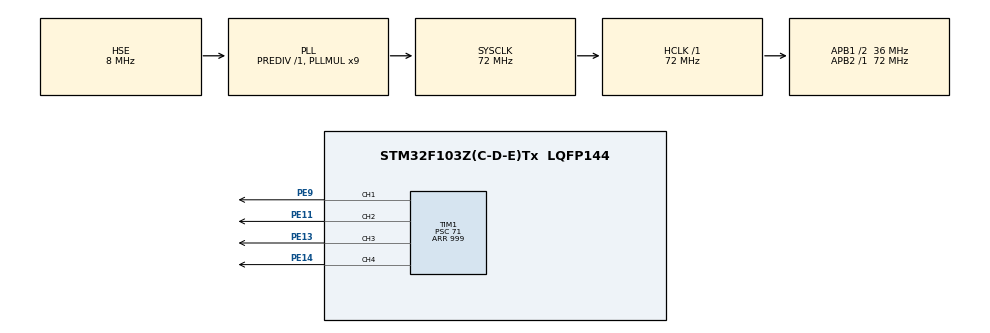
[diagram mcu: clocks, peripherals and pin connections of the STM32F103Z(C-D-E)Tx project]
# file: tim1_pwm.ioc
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Mcu.Family=STM32F1
Mcu.Name=STM32F103Z(C-D-E)Tx
Mcu.Package=LQFP144
NVIC.PriorityGroup=NVIC_PRIORITYGROUP_4
NVIC.TIM2_IRQn=true\:0\:0\:false\:false\:true\:true\:true
OSC_IN.Mode=HSE-External-Oscillator
OSC_IN.Signal=RCC_OSC_IN
OSC_OUT.Mode=HSE-External-Oscillator
OSC_OUT.Signal=RCC_OSC_OUT
PE11.Signal=S_TIM1_CH2
PE13.Signal=S_TIM1_CH3
PE14.Signal=S_TIM1_CH4
PE9.Signal=S_TIM1_CH1
ProjectManager.HeapSize=0x200
ProjectManager.StackSize=0x400
ProjectManager.TargetToolchain=MDK-ARM V5.27
RCC.AHBFreq_Value=72000000
RCC.APB1CLKDivider=RCC_HCLK_DIV2
RCC.APB1Freq_Value=36000000
RCC.APB1TimFreq_Value=72000000
RCC.APB2Freq_Value=72000000
RCC.APB2TimFreq_Value=72000000
RCC.HCLKFreq_Value=72000000
RCC.PLLMUL=RCC_PLL_MUL9
RCC.PLLSourceVirtual=RCC_PLLSOURCE_HSE
RCC.SYSCLKFreq_VALUE=72000000
RCC.SYSCLKSource=RCC_SYSCLKSOURCE_PLLCLK
RCC.USBFreq_Value=72000000
SH.S_TIM1_CH1.0=TIM1_CH1,PWM Generation1 CH1
SH.S_TIM1_CH2.0=TIM1_CH2,PWM Generation2 CH2
SH.S_TIM1_CH3.0=TIM1_CH3,PWM Generation3 CH3
SH.S_TIM1_CH4.0=TIM1_CH4,PWM Generation4 CH4
TIM1.AutoReloadPreload=TIM_AUTORELOAD_PRELOAD_ENABLE
TIM1.Channel-PWM\ Generation1\ CH1=TIM_CHANNEL_1
TIM1.Channel-PWM\ Generation2\ CH2=TIM_CHANNEL_2
TIM1.Channel-PWM\ Generation3\ CH3=TIM_CHANNEL_3
TIM1.Channel-PWM\ Generation4\ CH4=TIM_CHANNEL_4
TIM1.Period=999
TIM1.Prescaler=71
TIM1.Pulse-PWM\ Generation1\ CH1=800
TIM1.Pulse-PWM\ Generation2\ CH2=600
TIM1.Pulse-PWM\ Generation3\ CH3=400
TIM1.Pulse-PWM\ Generation4\ CH4=200
TIM2.AutoReloadPreload=TIM_AUTORELOAD_PRELOAD_ENABLE
TIM2.Period=10000
TIM2.Prescaler=71
VP_SYS_VS_ND.Mode=No_Debug
VP_TIM1_VS_ClockSourceINT.Mode=Internal
VP_TIM2_VS_ClockSourceINT.Mode=Internal
board=custom

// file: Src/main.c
/* USER CODE BEGIN Header */
/**
  ******************************************************************************
  * @file           : main.c
  * @brief          : Main program body
  ******************************************************************************
  * @attention
  *
  * <h2><center>&copy; Copyright (c) 2020 STMicroelectronics.
  * All rights reserved.</center></h2>
  *
  * This software component is licensed by ST under BSD 3-Clause license,
  * the "License"; You may not use this file except in compliance with the
  * License. You may obtain a copy of the License at:
  *                        opensource.org/licenses/BSD-3-Clause
  *
  ******************************************************************************
  */
/* USER CODE END Header */

#include "main.h"
#include "tim.h"
#include "gpio.h"

/* USER CODE BEGIN PV */
const uint16_t sin_val[]={998,998,998,998,999,998,998,998,998,997,996,995,995,994,992,991,
990,988,986,985,983,981,979,976,974,972,969,966,963,961,957,954,
951,948,944,940,937,933,929,925,921,917,912,908,903,899,894,889,
884,879,874,869,863,858,852,847,841,835,829,824,818,811,805,799,
793,786,780,773,767,760,754,747,740,733,726,719,712,705,698,690,
683,676,669,661,654,646,639,631,624,616,608,601,593,585,578,570,
562,554,546,539,531,523,515,507,500,492,484,476,468,460,453,445,
437,429,421,414,406,398,391,383,375,368,360,353,345,338,330,323,
316,309,301,294,287,280,273,266,259,252,245,239,232,226,219,213,
206,200,194,188,181,175,170,164,158,152,147,141,136,130,125,120,
115,110,105,100,96,91,87,82,78,74,70,66,62,59,55,51,
48,45,42,38,36,33,30,27,25,23,20,18,16,14,13,11,
9,8,7,5,4,4,3,2,1,1,1,1,1,1,1,1,
1,2,3,4,4,5,7,8,9,11,13,14,16,18,20,23,
25,27,30,33,36,38,42,45,48,51,55,59,62,66,70,74,
78,82,87,91,96,100,105,110,115,120,125,130,136,141,147,152,
158,164,170,175,181,188,194,200,206,213,219,226,232,239,245,252,
259,266,273,280,287,294,301,309,316,323,330,338,345,353,360,368,
375,383,391,398,406,414,421,429,437,445,453,460,468,476,484,492};
uint16_t size = 400;
uint16_t pwm_val = 0;
/* USER CODE END PV */

void SystemClock_Config(void);

int main(void)
{
  /* USER CODE BEGIN 1 */
//static uint16_t  i =0;
  /* USER CODE END 1 */

  /* MCU Configuration--------------------------------------------------------*/

  /* Reset of all peripherals, Initializes the Flash interface and the Systick. */
  HAL_Init();

  /* Configure the system clock */
  SystemClock_Config();

  /* Initialize all configured peripherals */
  MX_GPIO_Init();
  MX_TIM1_Init();
  MX_TIM2_Init();
  /* USER CODE BEGIN 2 */
  HAL_TIM_PWM_Start(&htim1, TIM_CHANNEL_1);
	HAL_TIM_PWM_Start(&htim1, TIM_CHANNEL_2);
	HAL_TIM_PWM_Start(&htim1, TIM_CHANNEL_3);
	HAL_TIM_PWM_Start(&htim1, TIM_CHANNEL_4);
	 HAL_TIM_Base_Start_IT(&htim2);
  /* USER CODE END 2 */

  /* Infinite loop */
  /* USER CODE BEGIN WHILE */
  while (1)
  {

    pwm_val++;
		HAL_Delay(5);
		__HAL_TIM_SET_COMPARE(&htim1, TIM_CHANNEL_1,pwm_val);
		pwm_val = (pwm_val>999)? 0:pwm_val ;

    /* USER CODE END WHILE */

  }
}

void SystemClock_Config(void)
{
  RCC_OscInitTypeDef RCC_OscInitStruct = {0};
  RCC_ClkInitTypeDef RCC_ClkInitStruct = {0};

  /** Initializes the CPU, AHB and APB busses clocks
  */
  RCC_OscInitStruct.OscillatorType = RCC_OSCILLATORTYPE_HSE;
  RCC_OscInitStruct.HSEState = RCC_HSE_ON;
  RCC_OscInitStruct.HSEPredivValue = RCC_HSE_PREDIV_DIV1;
  RCC_OscInitStruct.HSIState = RCC_HSI_ON;
  RCC_OscInitStruct.PLL.PLLState = RCC_PLL_ON;
  RCC_OscInitStruct.PLL.PLLSource = RCC_PLLSOURCE_HSE;
  RCC_OscInitStruct.PLL.PLLMUL = RCC_PLL_MUL9;
  if (HAL_RCC_OscConfig(&RCC_OscInitStruct) != HAL_OK)
  {
    Error_Handler();
  }
  /** Initializes the CPU, AHB and APB busses clocks
  */
  RCC_ClkInitStruct.ClockType = RCC_CLOCKTYPE_HCLK|RCC_CLOCKTYPE_SYSCLK
                              |RCC_CLOCKTYPE_PCLK1|RCC_CLOCKTYPE_PCLK2;
  RCC_ClkInitStruct.SYSCLKSource = RCC_SYSCLKSOURCE_PLLCLK;
  RCC_ClkInitStruct.AHBCLKDivider = RCC_SYSCLK_DIV1;
  RCC_ClkInitStruct.APB1CLKDivider = RCC_HCLK_DIV2;
  RCC_ClkInitStruct.APB2CLKDivider = RCC_HCLK_DIV1;

  if (HAL_RCC_ClockConfig(&RCC_ClkInitStruct, FLASH_LATENCY_2) != HAL_OK)
  {
    Error_Handler();
  }
}

/* USER CODE BEGIN 4 */
 void HAL_TIM_PeriodElapsedCallback(TIM_HandleTypeDef *htim)
	{
		if(htim->Instance == htim2.Instance)
		{
			static uint16_t i=0;
			if(++i == size) i=0;
		 __HAL_TIM_SET_COMPARE(&htim1, TIM_CHANNEL_2,sin_val[i]);

		}

	}
/* USER CODE END 4 */

void Error_Handler(void)
{
}

/************************ (C) COPYRIGHT STMicroelectronics *****END OF FILE****/
